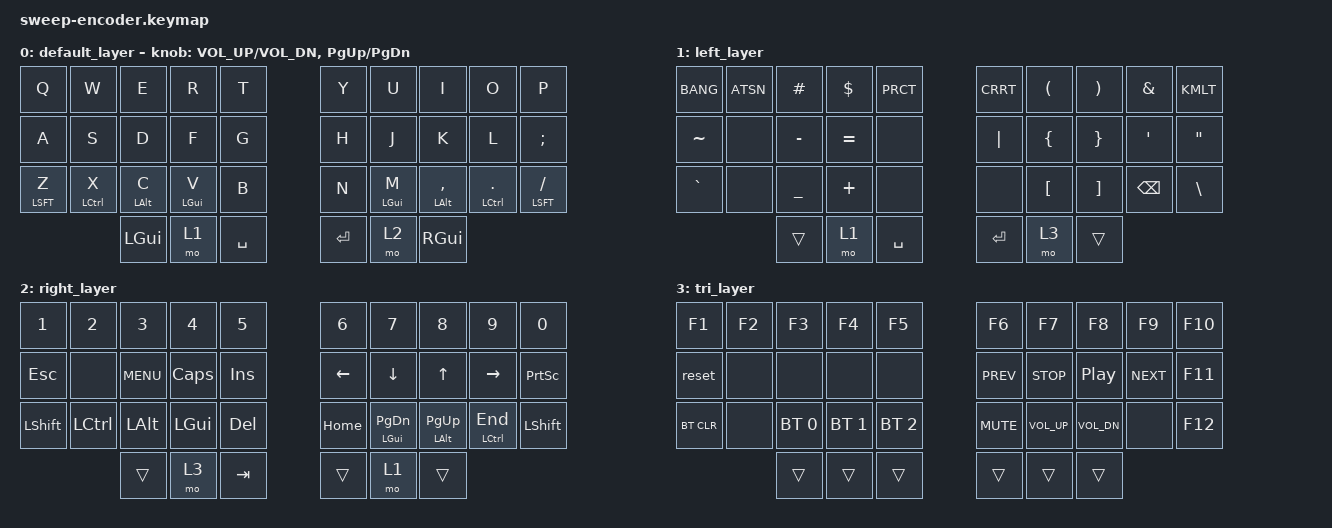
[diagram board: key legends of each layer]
/*
 * Copyright (c) 2020 The ZMK Contributors
 *
 * SPDX-License-Identifier: MIT
 */


#include <behaviors.dtsi>
#include <dt-bindings/zmk/keys.h>
#include <dt-bindings/zmk/bt.h>

&mt {
  flavor = "tap-preferred"; 
  tapping_term_ms = <150>;
};


/ { 

    sensor-bindings = <&inc_dec_kp C_VOL_UP C_VOL_DN &inc_dec_kp PG_UP PG_DN>;


    // combos {
    //     compatible = "zmk,combos";
    //     combo_esc {
    //         timeout-ms = <50>;
    //         key-positions = <0 1>;
    //         bindings = <&kp ESC> ;
    //     };
      
    // combo_tab {
    //         timeout-ms = <50>;
    //         key-positions = <10 11>;
    //         bindings = <&kp TAB>;
    //     };
        
    //               combo_lalt {
    //         timeout-ms = <50>;
    //         key-positions = <13 14>;
    //         bindings = <&kp LALT>;
    //     };
    //      combo_lgui {
    //         timeout-ms = <50>;
    //         key-positions = <11 12 >;
    //         bindings = <&kp LGUI>;
    //     };

    //                   combo_ralt {
    //         timeout-ms = <50>;
    //         key-positions = <15 16>;
    //         bindings = <&kp RALT>;
    //     };
    //        combo_rgui {
    //         timeout-ms = <50>;
    //         key-positions = <17 18>;
    //         bindings = <&kp RGUI>;
    //     };
        
    //          combo_del {
    //         timeout-ms = <50>;
    //         key-positions = <8 9>;
    //         bindings = <&kp BKSP>;
    //     };
        

       
    // };

        keymap {
            compatible = "zmk,keymap";
               
            // layer 0
            default_layer {
                bindings = <
                &kp Q &kp W &kp E &kp R &kp T 						        &kp Y &kp U  &kp I    &kp O   &kp P 
                &kp A &kp S &kp D &kp F &kp G 			        	        &kp H &kp J &kp K &kp L &kp SEMI
            &mt LSFT Z &mt LCTRL X &mt LALT C &mt LGUI V &kp B           &kp N &mt LGUI M  &mt LALT CMMA &mt LCTRL DOT &mt LSFT SLASH
                            &kp LGUI &mo 1 &kp SPC  			        	&kp RET &mo 2 &kp RGUI
                >;

                sensor-bindings = <&inc_dec_kp C_VOL_UP C_VOL_DN &inc_dec_kp PG_UP PG_DN>;
            };

            // layer 1
            left_layer {
                bindings = <
                &kp BANG  &kp ATSN &kp HASH  &kp DLLR  &kp PRCT    			&kp CRRT &kp LPRN &kp RPRN &kp AMPS &kp KMLT 
                &kp TILDE  &none  &kp MINUS  &kp EQUAL  &none 			&kp PIPE &kp LBRC  &kp RBRC  &kp SQT &kp DQT
                &kp GRAVE  &none &kp UNDER &kp PLUS &none    			&none &kp LBKT &kp RBKT &kp BSPC  &kp BSLH
                                        &trans &mo 1 &kp SPC  				&kp RET  &mo 3 &trans
                >;
            };	

            // layer 2
            right_layer {
                bindings = <
                &kp NUM_1  &kp NUM_2    &kp NUM_3    &kp NUM_4    &kp NUM_5                 &kp NUM_6 &kp NUM_7 &kp NUM_8 &kp NUM_9 &kp NUM_0 
                &kp ESC    &none        &kp C_MENU   &kp CAPS     &kp INS 		            &kp LEFT &kp DOWN  &kp UP &kp RIGHT &kp PSCRN 
                &kp LSHFT  &kp LCTRL 	&kp LALT &kp LGUI  &kp DEL 	                        &kp HOME &mt LGUI PG_DN &mt LALT PG_UP &mt LCTRL END &kp LSHFT
                                                &trans    &mo 3  &kp TAB  					&trans &mo 1 &trans
                >;
            };
            
            // layer 3
            tri_layer {
                bindings = <
                &kp F1 &kp F2 &kp F3 &kp F4 &kp F5  						            &kp F6  &kp F7  &kp F8 &kp F9 &kp F10 
                &reset  &none   &none  &none    &none                              &kp C_PREV  &kp C_STOP &kp C_PP &kp C_NEXT &kp F11
                &bt BT_CLR &none &bt BT_SEL 0 &bt BT_SEL 1 &bt BT_SEL 2   				&kp K_MUTE &kp C_VOL_UP  &kp C_VOL_DN  &none &kp F12   
                            &trans &trans &trans  					&trans &trans &trans
                >;
            };	
	};
};
